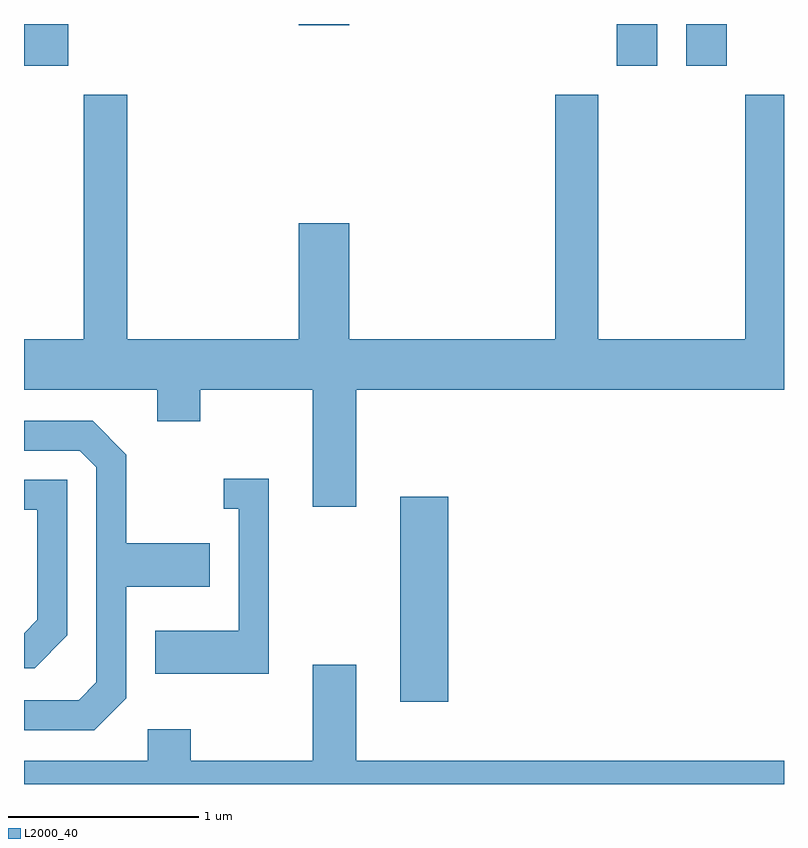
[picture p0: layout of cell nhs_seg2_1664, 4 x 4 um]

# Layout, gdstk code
import gdstk
lib = gdstk.Library(unit=1e-6, precision=1e-09)
def R(c, l, rs):  # rectangles x0, y0, x1, y1
    for r in rs: c.add(gdstk.rectangle(r[:2], r[2:], *l))
def P(c, l, *ps):  # polygons
    for p in ps: c.add(gdstk.Polygon(p, *l))
L2000_40 = (2000, 40)

nhs_seg2_1664 = lib.new_cell('nhs_seg2_1664')
R(nhs_seg2_1664, L2000_40, [(235.591,1042.236,235.844,1043.314), (233.611,1045.581,233.844,1045.802), (236.731,1045.581,236.944,1045.802), (237.096,1045.581,237.309,1045.802), (235.056,1045.796,235.324,1045.802)])
P(nhs_seg2_1664, L2000_40, [(235.359,1043.876),(237.611,1043.876),(237.611,1045.429),(237.406,1045.429),(237.406,1044.144),(236.634,1044.144),(236.634,1045.429),(236.406,1045.429),(236.406,1044.144),(235.324,1044.144),(235.324,1044.754),(235.056,1044.754),(235.056,1044.144),(234.154,1044.144),(234.154,1045.429),(233.926,1045.429),(233.926,1044.144),(233.611,1044.144),(233.611,1043.876),(234.311,1043.876),(234.311,1043.711),(234.539,1043.711),(234.539,1043.876),(235.131,1043.876),(235.131,1043.261),(235.359,1043.261)],
  [(234.149,1042.254),(234.149,1042.841),(234.589,1042.841),(234.589,1043.069),(234.149,1043.069),(234.149,1043.536),(233.972,1043.714),(233.611,1043.714),(233.611,1043.556),(233.904,1043.556),(233.991,1043.469),(233.991,1042.337),(233.899,1042.244),(233.611,1042.244),(233.611,1042.086),(233.982,1042.086)],
  [(234.899,1043.409),(234.663,1043.409),(234.663,1043.251),(234.741,1043.251),(234.741,1042.609),(234.301,1042.609),(234.301,1042.381),(234.899,1042.381)],
  [(233.839,1042.584),(233.839,1043.404),(233.611,1043.404),(233.611,1043.246),(233.681,1043.246),(233.681,1042.667),(233.611,1042.596),(233.611,1042.411),(233.667,1042.411)],
  [(237.611,1041.924),(235.359,1041.924),(235.359,1042.429),(235.131,1042.429),(235.131,1041.924),(234.489,1041.924),(234.489,1042.089),(234.261,1042.089),(234.261,1041.924),(233.611,1041.924),(233.611,1041.802),(237.611,1041.802)])

lib.write_gds('nhs_seg2_1664.gds')
